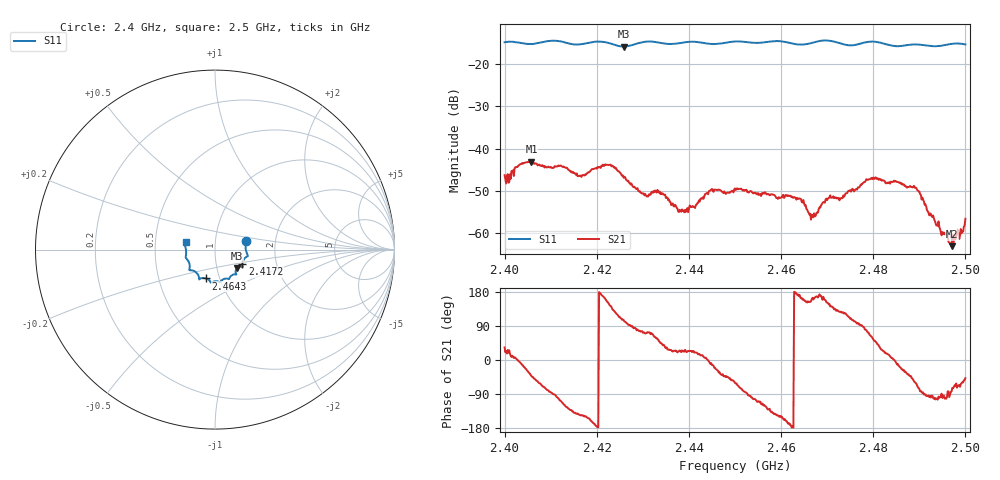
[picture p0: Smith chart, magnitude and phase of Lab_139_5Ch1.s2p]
# Hz S RI R
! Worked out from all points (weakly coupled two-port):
!   601 points, 2.4 GHz to 2.5 GHz, reference 50 ohm
!   highest |S21| = -43.13 dB at 2.4058 GHz (marker M1); lowest = -63.0 dB at 2.497 GHz (marker M2)
!   lowest |S11| = -15.9 dB at 2.4258 GHz (marker M3), VSWR 1.38, Z = 62.3 - j13.2 ohm
!   |S11| at or under -10 dB: start of sweep to end of sweep
!   S12 and S22 are empty: the file has one direction only
!   S11 on the Smith chart (normalised r, x): 2.4 GHz: 1.41, +0.14; 2.4172 GHz: 1.34, -0.22; 2.4643 GHz: 0.86, -0.28; 2.5 GHz: 0.72, +0.06
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2.4e9  0.1731 0.0479  0.00406 0.00266  0 0  0 0
2.405833e9  0.1708 0.0042  0.00516 -0.0047  0 0  0 0
2.4125e9  0.1776 -0.0391  -0.00235 -0.00564  0 0  0 0
2.416667e9  0.1529 -0.0748  -0.00381 -0.00262  0 0  0 0
2.417167e9  0.1521 -0.0805  -0.00404 -0.00266  0 0  0 0
2.422333e9  0.1499 -0.095  -0.00572 0.00293  0 0  0 0
2.425833e9  0.1217 -0.1034  -0.00121 0.00435  0 0  0 0
2.430667e9  0.1187 -0.1384  0.000931 0.00263  0 0  0 0
2.433333e9  0.1129 -0.1374  0.00182 0.00252  0 0  0 0
2.438833e9  0.0802 -0.1589  0.0017 0.000743  0 0  0 0
2.444833e9  0.0569 -0.1615  0.00323 -0.00048  0 0  0 0
2.45e9  0.0288 -0.181  0.00167 -0.00294  0 0  0 0
2.464333e9  -0.05 -0.1606  -0.00241 0.000756  0 0  0 0
2.466667e9  -0.076 -0.1593  -0.00157 0.000546  0 0  0 0
2.470167e9  -0.0883 -0.1657  -0.00224 0.00127  0 0  0 0
2.473167e9  -0.0923 -0.1452  -0.00149 0.00214  0 0  0 0
2.479e9  -0.1408 -0.1147  0.00135 0.00411  0 0  0 0
2.483333e9  -0.1407 -0.0899  0.00381 0.000954  0 0  0 0
2.489333e9  -0.1631 -0.0436  0.0016 -0.00303  0 0  0 0
2.492167e9  -0.1609 -0.0237  -0.000225 -0.00161  0 0  0 0
2.497e9  -0.1695 0.0271  9.13e-05 -0.000699  0 0  0 0
2.5e9  -0.1638 0.0428  0.000994 -0.0011  0 0  0 0
